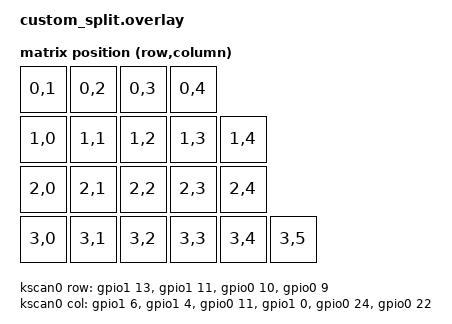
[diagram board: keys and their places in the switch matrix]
/*
 * Copyright (c) 2020 The ZMK Contributors
 *
 * SPDX-License-Identifier: MIT
 */

#include <dt-bindings/zmk/matrix_transform.h>

/ {
    chosen {
        zmk,kscan = &kscan0;
        zmk,matrix_transform = &default_transform;
    };

    default_transform: keymap_transform_0 {
        compatible = "zmk,matrix-transform";
        columns = <6>;
        rows = <4>;
        // Left hand only - 18 keys total
        // Row 0: _WERT_
        // Row 1: QSDFG_  
        // Row 2: AXCVB_
        // Row 3: Z12345
        map = <
            RC(0,1) RC(0,2) RC(0,3) RC(0,4)
            RC(1,0) RC(1,1) RC(1,2) RC(1,3) RC(1,4)
            RC(2,0) RC(2,1) RC(2,2) RC(2,3) RC(2,4)
            RC(3,0) RC(3,1) RC(3,2) RC(3,3) RC(3,4) RC(3,5)
        >;
    };

    kscan0: kscan {
        compatible = "zmk,kscan-gpio-matrix";
        label = "KSCAN";

        diode-direction = "col2row";
        
        row-gpios
            = <&gpio1 13 (GPIO_ACTIVE_HIGH | GPIO_PULL_DOWN)>  // P1.13 (top)
            , <&gpio1 11 (GPIO_ACTIVE_HIGH | GPIO_PULL_DOWN)>  // P1.11
            , <&gpio0 10 (GPIO_ACTIVE_HIGH | GPIO_PULL_DOWN)>  // P0.10
            , <&gpio0 9  (GPIO_ACTIVE_HIGH | GPIO_PULL_DOWN)>  // P0.09 (bottom)
            ;

        col-gpios
            = <&gpio1 6  GPIO_ACTIVE_HIGH>  // P1.06 (rightmost)
            , <&gpio1 4  GPIO_ACTIVE_HIGH>  // P1.04
            , <&gpio0 11 GPIO_ACTIVE_HIGH>  // P0.11
            , <&gpio1 0  GPIO_ACTIVE_HIGH>  // P1.00
            , <&gpio0 24 GPIO_ACTIVE_HIGH>  // P0.24
            , <&gpio0 22 GPIO_ACTIVE_HIGH>  // P0.22 (leftmost)
            ;
    };
};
